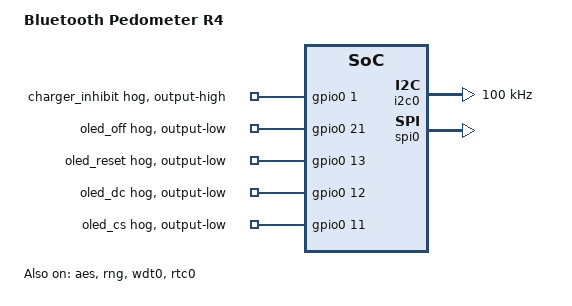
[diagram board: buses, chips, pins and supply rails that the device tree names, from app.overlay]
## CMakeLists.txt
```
cmake_minimum_required(VERSION 3.20.0)
find_package(Zephyr REQUIRED HINTS $ENV{ZEPHYR_BASE})
project(bluetooth_pedometer C)
target_sources(app PRIVATE src/main.c src/core.c src/bus.c src/pmic.c
  src/gauge.c src/motion.c src/oled.c src/platform.c src/ble.c src/storage.c
  vendor/bma400/bma400.c)
target_include_directories(app PRIVATE src vendor/bma400)
target_compile_options(app PRIVATE -Wall -Wextra)
```

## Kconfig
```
mainmenu "Bluetooth pedometer"
source "Kconfig.zephyr"
menu "Pedometer"
config PEDOMETER_STRIDE_MM
    int "Default distance per step, mm"
    range 100 2000
    default 750
config PEDOMETER_OLED_HEIGHT
    int "SSD1306 height (only 32 or 64 supported)"
    range 32 64
    default 64
config PEDOMETER_DISPLAY_SECONDS
    int "Display timeout"
    range 3 60
    default 10
config PEDOMETER_WRIST
    bool "Use Bosch wrist step-counter parameters"
    default n
config PEDOMETER_BATTERY_PROFILE_APPROVED
    bool "Enable charging for a verified protected 4.2 V Li-ion pack"
    default n
    help
      Only enable after matching current, capacity, NTC thresholds and
      chemistry to the actual cell. Default firmware inhibits charging.
config PEDOMETER_CAPACITY_MAH
    int "Verified battery capacity, mAh"
    range 100 500
    default 100
config PEDOMETER_NOMINAL_MV
    int "Battery nominal voltage, mV"
    range 3600 3800
    default 3700
config PEDOMETER_CUTOFF_MV
    int "Gauge terminate voltage, mV"
    range 3000 3500
    default 3200
config PEDOMETER_CHARGE_UA
    int "Charge current, multiple of 1250 uA"
    range 5000 50000
    default 10000
config PEDOMETER_PRECHARGE_UA
    int "Precharge current, multiple of 1250 uA"
    range 1250 38750
    default 2500
config PEDOMETER_TERMINATION_PERCENT
    int "Termination percent of fast charge current"
    range 1 31
    default 10
config PEDOMETER_TS_COLD
    hex "Cold threshold ADC byte (verify with actual NTC)"
    range 0x1 0xff
    default 0x7c
config PEDOMETER_TS_COOL
    hex "Cool threshold ADC byte"
    range 0x1 0xff
    default 0x6d
config PEDOMETER_TS_WARM
    hex "Warm threshold ADC byte"
    range 0x1 0xff
    default 0x38
config PEDOMETER_TS_HOT
    hex "Hot threshold ADC byte"
    range 0x1 0xff
    default 0x27
endmenu
```

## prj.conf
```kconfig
CONFIG_MAIN_STACK_SIZE=4096
CONFIG_GPIO_HOGS=y
CONFIG_SYSTEM_WORKQUEUE_STACK_SIZE=2048
CONFIG_HEAP_MEM_POOL_SIZE=4096
CONFIG_I2C=y
CONFIG_I2C_CALLBACK=y
CONFIG_SPI=y
CONFIG_WATCHDOG=y
CONFIG_BT=y
CONFIG_BT_PERIPHERAL=y
CONFIG_BT_DEVICE_NAME="BLE Pedometer"
CONFIG_BT_DEVICE_APPEARANCE=1089
CONFIG_BT_MAX_CONN=1
CONFIG_BT_MAX_PAIRED=2
CONFIG_BT_SMP=y
CONFIG_BT_SMP_SC_ONLY=y
CONFIG_BT_SMP_APP_PAIRING_ACCEPT=y
CONFIG_BT_PRIVACY=y
CONFIG_BT_SETTINGS=y
CONFIG_FLASH=y
CONFIG_FLASH_MAP=y
CONFIG_FLASH_PAGE_LAYOUT=y
CONFIG_NVS=y
CONFIG_SETTINGS=y
CONFIG_SETTINGS_NVS=y
CONFIG_USE_DT_CODE_PARTITION=y
CONFIG_SERIAL=n
CONFIG_CONSOLE=n
CONFIG_UART_CONSOLE=n
CONFIG_LOG=n
CONFIG_ASSERT=y
CONFIG_REBOOT=y
CONFIG_PM_DEVICE=y
```

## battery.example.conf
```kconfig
# Leave disabled until these values match a verified protected 4.2 V pack.
CONFIG_PEDOMETER_BATTERY_PROFILE_APPROVED=n
CONFIG_PEDOMETER_CAPACITY_MAH=100
CONFIG_PEDOMETER_NOMINAL_MV=3700
CONFIG_PEDOMETER_CUTOFF_MV=3200
CONFIG_PEDOMETER_CHARGE_UA=10000
CONFIG_PEDOMETER_PRECHARGE_UA=2500
CONFIG_PEDOMETER_TERMINATION_PERCENT=10
CONFIG_PEDOMETER_TS_COLD=0x7c
CONFIG_PEDOMETER_TS_COOL=0x6d
CONFIG_PEDOMETER_TS_WARM=0x38
CONFIG_PEDOMETER_TS_HOT=0x27
```

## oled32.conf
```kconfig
CONFIG_PEDOMETER_OLED_HEIGHT=32
```

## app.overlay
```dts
#include <zephyr/dt-bindings/gpio/gpio.h>
#include <zephyr/dt-bindings/pinctrl/cc23x0-pinctrl.h>
/* Use TI's unchanged CC2340R53 radio/clock support, with the pedometer's
 * actual hardware definitions. No LaunchPad peripherals remain enabled. */
/delete-node/ &boot_partition;
/delete-node/ &slot0_partition;
/delete-node/ &slot1_partition;
/delete-node/ &mx25r80;
/delete-node/ &boosterpack_header;
/ {
    /delete-node/ aliases;
    /delete-node/ leds;
    /delete-node/ pwmleds;
    /delete-node/ keys;
    model = "Bluetooth Pedometer R4";
    compatible = "pedometer,cc2340r53";
    chosen {
        /delete-property/ zephyr,console;
        /delete-property/ zephyr,shell-uart;
        /delete-property/ zephyr,bt-c2h-uart;
        /delete-property/ zephyr,uart-mcumgr;
        zephyr,sram = &sram0;
        zephyr,flash = &flash0;
        zephyr,code-partition = &slot0_partition;
        zephyr,bt_hci = &ti_bt_hci;
    };
    aliases { watchdog0 = &wdt0; };
};
&cpu0 { clock-frequency = <48000000>; };
&gpio0 {
    status = "okay";
    charger_inhibit { gpio-hog; gpios = <1 GPIO_ACTIVE_HIGH>; output-high; };
    oled_off { gpio-hog; gpios = <21 GPIO_ACTIVE_HIGH>; output-low; };
    oled_reset { gpio-hog; gpios = <13 GPIO_ACTIVE_HIGH>; output-low; };
    oled_dc { gpio-hog; gpios = <12 GPIO_ACTIVE_HIGH>; output-low; };
    oled_cs { gpio-hog; gpios = <11 GPIO_ACTIVE_HIGH>; output-low; };
};
&pinctrl {
    pedometer_scl: pedometer_scl {
        pinmux = <24 DIO24_I2C0_SCL>;
        bias-disable; drive-open-drain; input-enable;
    };
    pedometer_sda: pedometer_sda {
        pinmux = <0 DIO0_I2C0_SDA>;
        bias-disable; drive-open-drain; input-enable;
    };
    pedometer_sck: pedometer_sck { pinmux = <8 DIO8_SPI0_SCLK>; bias-disable; };
    pedometer_mosi: pedometer_mosi { pinmux = <19 DIO19_SPI0_MOSI>; bias-disable; };
    /* TI's driver indexes SCK/MOSI/MISO even for TX-only transfers. DIO25
     * is a no-connect on this PCB and provides the required unused RX input. */
    pedometer_miso: pedometer_miso {
        pinmux = <25 DIO25_SPI0_MISO>; bias-pull-down; input-enable;
    };
    pedometer_sck_sleep: pedometer_sck_sleep {
        pinmux = <8 DIO8_GPIO8>; bias-pull-down; input-enable;
    };
    pedometer_mosi_sleep: pedometer_mosi_sleep {
        pinmux = <19 DIO19_GPIO19>; bias-pull-down; input-enable;
    };
    pedometer_miso_sleep: pedometer_miso_sleep {
        pinmux = <25 DIO25_GPIO25>; bias-pull-down; input-enable;
    };
};
&i2c0 {
    status = "okay";
    clock-frequency = <100000>;
    pinctrl-0 = <&pedometer_scl &pedometer_sda>;
    pinctrl-names = "default";
};
&spi0 {
    /delete-property/ cs-gpios;
    status = "okay";
    pinctrl-0 = <&pedometer_sck &pedometer_mosi &pedometer_miso>;
    pinctrl-1 = <&pedometer_sck_sleep &pedometer_mosi_sleep &pedometer_miso_sleep>;
    pinctrl-names = "default", "sleep";
};
&aes { status = "okay"; };
&rng { status = "okay"; };
&dma { status = "okay"; };
&wdt0 { status = "okay"; };
&rtc0 { status = "okay"; };

&flash0 {
    partitions {
        slot0_partition: partition@0 {
            label = "image-0";
            reg = <0x00000000 0x0007c000>;
        };
    };
};
&uart0 { status = "disabled"; };
&adc0 { status = "disabled"; };
&lgpt1 { status = "disabled"; };
&lgpt2 { status = "disabled"; };
&pwm5 { status = "disabled"; };
&pwm6 { status = "disabled"; };
```

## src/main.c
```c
#include "ble.h"
#include "core.h"
#include "gauge.h"
#include "motion.h"
#include "oled.h"
#include "platform.h"
#include "pmic.h"
#include "storage.h"
#include <errno.h>
#include <stdio.h>

BUILD_ASSERT(CONFIG_PEDOMETER_OLED_HEIGHT == 32 || CONFIG_PEDOMETER_OLED_HEIGHT == 64,
             "OLED height must be 32 or 64");
BUILD_ASSERT(!IS_ENABLED(CONFIG_PEDOMETER_BATTERY_PROFILE_APPROVED) ||
    (CONFIG_PEDOMETER_CHARGE_UA % 1250 == 0 && CONFIG_PEDOMETER_PRECHARGE_UA % 1250 == 0 &&
     CONFIG_PEDOMETER_PRECHARGE_UA <= CONFIG_PEDOMETER_CHARGE_UA &&
     CONFIG_PEDOMETER_CHARGE_UA * CONFIG_PEDOMETER_TERMINATION_PERCENT / 100 >= 500 &&
     CONFIG_PEDOMETER_CAPACITY_MAH * 10000u /
       (CONFIG_PEDOMETER_CHARGE_UA * CONFIG_PEDOMETER_TERMINATION_PERCENT / 100) <= 2000 &&
     CONFIG_PEDOMETER_TS_COLD > CONFIG_PEDOMETER_TS_COOL &&
     CONFIG_PEDOMETER_TS_COOL > CONFIG_PEDOMETER_TS_WARM &&
     CONFIG_PEDOMETER_TS_WARM > CONFIG_PEDOMETER_TS_HOT), "Invalid approved battery profile");
static struct oled display;
static struct motion motion;
static struct step_state steps;
static struct app_clock clock_state;
static struct telemetry status;
static bool pmic_ok, motion_ok, gauge_ready, charging, storage_error, sample_gap;
static uint64_t display_until, pairing_until, passkey_until;
static struct battery_reading battery;
static bool battery_present;
static const struct charge_profile charge_profile = {
    .approved=IS_ENABLED(CONFIG_PEDOMETER_BATTERY_PROFILE_APPROVED),
    .current_ua=CONFIG_PEDOMETER_CHARGE_UA,.precharge_ua=CONFIG_PEDOMETER_PRECHARGE_UA,
    .termination_percent=CONFIG_PEDOMETER_TERMINATION_PERCENT,
    .ts_cold=CONFIG_PEDOMETER_TS_COLD,.ts_cool=CONFIG_PEDOMETER_TS_COOL,
    .ts_warm=CONFIG_PEDOMETER_TS_WARM,.ts_hot=CONFIG_PEDOMETER_TS_HOT
};
static void save(void)
{ storage_error = storage_checkpoint(steps.total, status.stride_mm) != 0; }
static void refresh_status(uint64_t now)
{
    status.steps = steps.total;
    status.distance_mm = steps_distance(steps.total, status.stride_mm);
    status.uptime_s = now/1000u;
    status.millivolts = battery_present ? battery.millivolts : 0;
    status.percent = battery_present && battery.soc_valid ? battery.percent : 255;
    status.flags = (motion_ok ? STATUS_MOTION : 0) | (pmic_ok ? STATUS_PMIC : 0) |
        (battery_present ? STATUS_BATTERY : 0) | (battery.soc_valid && battery_present ? STATUS_SOC : 0) |
        (charging ? STATUS_CHARGE_ENABLED : 0) | (clock_state.valid ? STATUS_TIME : 0) |
        (storage_error ? STATUS_STORAGE_ERROR : 0) | (sample_gap ? STATUS_SAMPLE_GAP : 0);
}
static void show(uint64_t now)
{
    if (!pmic_ok || passkey_until) { return; }
    refresh_status(now);
    if (!oled_status(&display, &status, ble_connected())) {
        display_until = now + CONFIG_PEDOMETER_DISPLAY_SECONDS*1000u;
    }
}
static void power_fault(void)
{
    board_inhibit(true); charging = false; pmic_ok = false;
    oled_off(&display); display_until = 0;
    ble_cancel_pairing(); pairing_until = passkey_until = 0;
}
static void power_update(void)
{
    int rc = board_pmic_wake(true);
    if (rc) { power_fault(); return; }
    if (pmic_ok) { rc = pmic_verify(&board_bus, &charge_profile); }
    if (!pmic_ok || rc) {
        power_fault();
        rc = pmic_setup(&board_bus, &charge_profile);
    }
    if (rc) { power_fault(); board_pmic_wake(false); return; }
    pmic_ok = true;
    board_feed();
    rc = gauge_read(&board_bus, gauge_ready, &battery);
    if (rc == -EAGAIN) {
        gauge_ready = false;
        board_inhibit(true); charging = false;
        rc = gauge_read(&board_bus, false, &battery);
    }
    battery_present = rc == 0;
    if (!battery_present) { gauge_ready = false; battery.soc_valid = false; }
    if (battery_present && charge_profile.approved && !gauge_ready) {
        board_inhibit(true); charging = false;
        uint32_t termination_ua = charge_profile.current_ua * charge_profile.termination_percent / 100u;
        struct gauge_profile gp = {
            .capacity_mah=CONFIG_PEDOMETER_CAPACITY_MAH,.nominal_mv=CONFIG_PEDOMETER_NOMINAL_MV,
            .cutoff_mv=CONFIG_PEDOMETER_CUTOFF_MV,
            .taper_rate=termination_ua ? CONFIG_PEDOMETER_CAPACITY_MAH*10000u/termination_ua : 0
        };
        gauge_ready = gauge_configure(&board_bus, &gp) == 0;
        board_feed();
        if (gauge_ready) {
            rc = gauge_read(&board_bus, true, &battery);
            battery_present = rc == 0;
            if (rc) { gauge_ready = false; }
        }
    }
    bool allow = charge_profile.approved && battery_present && gauge_ready && battery.millivolts <= 4250;
    if (!allow) { board_inhibit(true); charging = false; }
    rc = pmic_allow_charge(&board_bus, allow);
    if (!rc) { rc = board_inhibit(!allow); }
    if (rc) { power_fault(); } else { charging = allow; }
    /* Acknowledge latched interrupt flags; hardware TS/charge limits remain active. */
    uint8_t flags[3];
    if (board_bus.read(board_bus.ctx, PMIC_ADDR, 0x03, flags, sizeof(flags))) { power_fault(); }
    if (board_pmic_wake(false)) { power_fault(); }
}
static void sample_motion(uint64_t now)
{
    bool reset = false;
    if (!motion_ok) {
        if (motion_init(&motion, &board_bus, IS_ENABLED(CONFIG_PEDOMETER_WRIST), &reset)) {
            status.activity = 0; sample_gap = true; return;
        }
        motion_ok = true;
    }
    uint32_t raw; uint8_t activity;
    if (motion_read(&motion, &raw, &activity)) {
        motion_ok = false; status.activity = 0; sample_gap = true; return;
    }
    if (!steps_sample(&steps, raw, now, reset)) { sample_gap = true; }
    status.activity = activity;
}
static void reset_steps(uint64_t now)
{
    sample_motion(now); /* Establish current raw baseline before logical reset. */
    steps.total = 0; sample_gap = false; save(); show(now);
}
static void ship(uint64_t now)
{
    if (!pmic_ok) { return; }
    if (board_usb_present() != 0) {
        oled_text(&display, "UNPLUG USB", "THEN HOLD 8 SECONDS", "TO POWER OFF", "");
        display_until = now+5000; return;
    }
    sample_motion(now); save();
    if (storage_error) { show(now); return; }
    board_inhibit(true); charging = false;
    oled_off(&display); ble_stop(); board_feed();
    if (!board_pmic_wake(true)) { (void)pmic_ship(&board_bus); }
    k_sleep(K_MSEC(250));
    /* If power remained (e.g. USB inserted during the request), cancel the
     * deferred ship bit so a later unplug does not unexpectedly turn off. */
    uint8_t ctrl;
    if (!reg_read8(&board_bus, PMIC_ADDR, 0x35, &ctrl)) {
        (void)reg_write8(&board_bus, PMIC_ADDR, 0x35, ctrl & 0x34u);
    }
    board_reboot();
}
static void handle(struct command cmd, uint64_t now)
{
    switch (cmd.action) {
    case ACTION_SHOW: show(now); break;
    case ACTION_PAIR:
        if (pmic_ok && !oled_text(&display, "PAIRING OPEN 60S", "CONNECT FROM PHONE", "ENTER OLED PASSKEY", "")) {
            pairing_until = now+60000; display_until = pairing_until;
            ble_pair_window(pairing_until);
        }
        break;
    case ACTION_RESET: reset_steps(now); break;
    case ACTION_SHIP: ship(now); break;
    case ACTION_STRIDE: status.stride_mm = cmd.value; save(); show(now); break;
    case ACTION_TIME: (void)clock_sync(&clock_state, cmd.value, cmd.timezone, now); break;
    case ACTION_PASSKEY: {
        if (!pmic_ok || now >= pairing_until) { ble_cancel_pairing(); break; }
        char code[22]; snprintf(code, sizeof(code), "%06lu", (unsigned long)cmd.value);
        if (oled_text(&display, "ENTER ON PHONE", code, "PAIRING PASSKEY", "")) { ble_cancel_pairing(); break; }
        passkey_until = pairing_until; display_until = pairing_until;
        break;
    }
    case ACTION_PAIR_DONE:
        ble_pair_window(0); pairing_until = passkey_until = 0; show(now); break;
    default: break;
    }
}
int main(void)
{
    int rc = board_init();
    if (rc) { board_reboot(); }
    rc = oled_init(&display, &board_oled, CONFIG_PEDOMETER_OLED_HEIGHT);
    if (rc) { board_reboot(); }
    status.stride_mm = CONFIG_PEDOMETER_STRIDE_MM;
    /* Keep /CE high throughout boot, even if the gauge is absent. */
    board_inhibit(true);
    if (!board_pmic_wake(true)) { pmic_ok = pmic_setup(&board_bus, &charge_profile) == 0; }
    board_pmic_wake(false); board_feed();
    rc = ble_start();
    if (rc) {
        if (pmic_ok) { oled_text(&display, "BLUETOOTH INIT ERROR", "RESTARTING", "", ""); }
        k_sleep(K_MSEC(1000)); board_reboot();
    }
    storage_restore(&steps.total, &status.stride_mm);
    power_update();
    uint64_t now = k_uptime_get();
    sample_motion(now); show(now); board_feed();
    uint64_t next_sample=now+5000, next_power=now+10000, next_save=now+300000;
    uint64_t next_display=now+1000, pressed_at=0, changed_at=now;
    int stable=1, observed=board_button();
    for (;;) {
        now = k_uptime_get(); board_feed();
        int level = board_button();
        if (level >= 0 && level != observed) { observed=level; changed_at=now; }
        if (level >= 0 && observed != stable && now-changed_at >= 30) {
            stable = observed;
            if (!stable) { pressed_at=now; }
            else { handle((struct command){.action=button_action(now-pressed_at)}, now); }
        }
        struct command cmd;
        /* Bound work per iteration so a connected client cannot starve sampling. */
        for (unsigned n=0; n<8 && ble_command_get(&cmd); ++n) { handle(cmd, now); }
        if (now >= next_power) { power_update(); now=k_uptime_get(); next_power=now+10000; }
        if (now >= next_sample) {
            sample_motion(now);
            if (clock_new_day(&clock_state, now)) { steps.total=0; sample_gap=false; save(); }
            next_sample=now+5000;
        }
        if (now >= next_save) { save(); next_save=now+(storage_error ? 10000 : 300000); }
        if (pairing_until && now >= pairing_until) {
            ble_cancel_pairing(); pairing_until=passkey_until=0; show(now);
        }
        if (display.active && now >= display_until) { oled_off(&display); }
        if (display.active && !pairing_until && now >= next_display) {
            refresh_status(now); oled_status(&display, &status, ble_connected()); next_display=now+1000;
        }
        refresh_status(now); ble_poll(now); ble_publish(&status);
        /* GPIO interrupt wakes idle instantly; 20 ms while debouncing/held.
         * One-second idle cadence also keeps the watchdog serviced. */
        k_sem_take(&app_wake, K_MSEC(!stable || stable != observed ? 20 : 1000));
    }
}
```

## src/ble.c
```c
#include "ble.h"
#include "platform.h"
#include <zephyr/bluetooth/bluetooth.h>
#include <zephyr/bluetooth/conn.h>
#include <zephyr/bluetooth/gatt.h>
#include <zephyr/bluetooth/hci.h>
#include <zephyr/settings/settings.h>
#include <zephyr/sys/atomic.h>
#include <errno.h>
#include <string.h>
#define UUID(n) BT_UUID_128_ENCODE(0xc2a10000u+(n),0x6a9b,0x4e31,0x9d42,0x7b680ca4c901)
static struct bt_uuid_128 service_uuid = BT_UUID_INIT_128(UUID(1));
static struct bt_uuid_128 telemetry_uuid = BT_UUID_INIT_128(UUID(2));
static struct bt_uuid_128 control_uuid = BT_UUID_INIT_128(UUID(3));
static struct k_spinlock lock;
static struct bt_conn *peer;
static uint64_t pairing_until;
static uint64_t connected_since;
static uint8_t snapshot[20] = {[14]=255, [19]=1};
static atomic_t restart_adv;
static bool enabled;
K_MSGQ_DEFINE(commands, sizeof(struct command), 8, 4);
static int enqueue(struct command cmd)
{
    int rc = k_msgq_put(&commands, &cmd, K_NO_WAIT);
    if (!rc) { k_sem_give(&app_wake); }
    return rc;
}
bool ble_command_get(struct command *cmd) { return k_msgq_get(&commands, cmd, K_NO_WAIT) == 0; }
static struct bt_conn *get_peer(void)
{
    k_spinlock_key_t key = k_spin_lock(&lock);
    struct bt_conn *conn = peer ? bt_conn_ref(peer) : NULL;
    k_spin_unlock(&lock, key); return conn;
}
bool ble_connected(void)
{ struct bt_conn *conn = get_peer(); if (!conn) { return false; } bt_conn_unref(conn); return true; }
void ble_pair_window(uint64_t until)
{
    k_spinlock_key_t key = k_spin_lock(&lock);
    pairing_until = until; k_spin_unlock(&lock, key);
}
static bool pairing_open(void)
{
    k_spinlock_key_t key = k_spin_lock(&lock);
    bool open = (uint64_t)k_uptime_get() < pairing_until;
    k_spin_unlock(&lock, key); return open;
}
static ssize_t read_telemetry(struct bt_conn *conn, const struct bt_gatt_attr *attr,
                             void *buf, uint16_t len, uint16_t offset)
{
    uint8_t data[20]; k_spinlock_key_t key = k_spin_lock(&lock);
    memcpy(data, snapshot, sizeof(data)); k_spin_unlock(&lock, key);
    return bt_gatt_attr_read(conn, attr, buf, len, offset, data, sizeof(data));
}
static ssize_t write_control(struct bt_conn *conn, const struct bt_gatt_attr *attr,
                            const void *buf, uint16_t len, uint16_t offset, uint8_t flags)
{
    ARG_UNUSED(conn); ARG_UNUSED(attr);
    if (offset) { return BT_GATT_ERR(BT_ATT_ERR_INVALID_OFFSET); }
    if (flags & BT_GATT_WRITE_FLAG_PREPARE) { return BT_GATT_ERR(BT_ATT_ERR_NOT_SUPPORTED); }
    struct command cmd;
    int rc = command_decode(buf, len, &cmd);
    if (rc) { return BT_GATT_ERR(BT_ATT_ERR_VALUE_NOT_ALLOWED); }
    if (enqueue(cmd)) { return BT_GATT_ERR(BT_ATT_ERR_INSUFFICIENT_RESOURCES); }
    return len;
}
static void ccc_changed(const struct bt_gatt_attr *attr, uint16_t value)
{ ARG_UNUSED(attr); ARG_UNUSED(value); k_sem_give(&app_wake); }
BT_GATT_SERVICE_DEFINE(pedometer_service,
    BT_GATT_PRIMARY_SERVICE(&service_uuid),
    BT_GATT_CHARACTERISTIC(&telemetry_uuid.uuid, BT_GATT_CHRC_READ|BT_GATT_CHRC_NOTIFY,
        BT_GATT_PERM_READ_AUTHEN, read_telemetry, NULL, NULL),
    BT_GATT_CCC(ccc_changed, BT_GATT_PERM_READ_AUTHEN|BT_GATT_PERM_WRITE_AUTHEN),
    BT_GATT_CHARACTERISTIC(&control_uuid.uuid, BT_GATT_CHRC_WRITE,
        BT_GATT_PERM_WRITE_AUTHEN, NULL, write_control, NULL)
);
static const struct bt_data adv[] = {
    BT_DATA_BYTES(BT_DATA_FLAGS, BT_LE_AD_GENERAL|BT_LE_AD_NO_BREDR),
    BT_DATA_BYTES(BT_DATA_UUID128_ALL, UUID(1))
};
static const struct bt_data scan[] = {
    BT_DATA(BT_DATA_NAME_COMPLETE, CONFIG_BT_DEVICE_NAME, sizeof(CONFIG_BT_DEVICE_NAME)-1)
};
static int advertise(void)
{
    int rc = bt_le_adv_start(BT_LE_ADV_PARAM(BT_LE_ADV_OPT_CONNECTABLE, 1600, 1920, NULL),
        adv, ARRAY_SIZE(adv), scan, ARRAY_SIZE(scan));
    return rc == -EALREADY ? 0 : rc;
}
static void connected(struct bt_conn *conn, uint8_t err)
{
    if (err) { atomic_set(&restart_adv, 1); k_sem_give(&app_wake); return; }
    k_spinlock_key_t key = k_spin_lock(&lock);
    peer = bt_conn_ref(conn); connected_since = k_uptime_get(); k_spin_unlock(&lock, key);
    k_sem_give(&app_wake);
    /* Client requests security when accessing authenticated attributes.
     * Existing bonds can reconnect without opening a new pairing window. */
}
static void disconnected(struct bt_conn *conn, uint8_t reason)
{
    ARG_UNUSED(reason);
    k_spinlock_key_t key = k_spin_lock(&lock);
    struct bt_conn *old = peer == conn ? peer : NULL;
    if (old) { peer = NULL; }
    k_spin_unlock(&lock, key);
    if (old) { bt_conn_unref(old); }
    atomic_set(&restart_adv, 1); k_sem_give(&app_wake);
}
BT_CONN_CB_DEFINE(connection_callbacks) = {.connected=connected,.disconnected=disconnected};
static enum bt_security_err accept_pairing(struct bt_conn *conn, const struct bt_conn_pairing_feat *feat)
{
    ARG_UNUSED(conn); ARG_UNUSED(feat);
    return pairing_open() ? BT_SECURITY_ERR_SUCCESS : BT_SECURITY_ERR_PAIR_NOT_ALLOWED;
}
static void passkey_display(struct bt_conn *conn, unsigned int code)
{
    if (!pairing_open() || enqueue((struct command){.action=ACTION_PASSKEY,.value=code})) {
        bt_conn_auth_cancel(conn);
    }
}
static void auth_cancel(struct bt_conn *conn)
{ ARG_UNUSED(conn); enqueue((struct command){.action=ACTION_PAIR_DONE}); }
static struct bt_conn_auth_cb auth = {
    .pairing_accept=accept_pairing,.passkey_display=passkey_display,.cancel=auth_cancel
};
static void paired(struct bt_conn *conn, bool bonded)
{
    ARG_UNUSED(conn); ARG_UNUSED(bonded);
    ble_pair_window(0); enqueue((struct command){.action=ACTION_PAIR_DONE});
}
static void pairing_failed(struct bt_conn *conn, enum bt_security_err reason)
{ ARG_UNUSED(conn); ARG_UNUSED(reason); auth_cancel(conn); }
static struct bt_conn_auth_info_cb auth_info = {.pairing_complete=paired,.pairing_failed=pairing_failed};
void ble_cancel_pairing(void)
{
    ble_pair_window(0);
    struct bt_conn *conn = get_peer();
    if (conn) { if (bt_conn_get_security(conn) < BT_SECURITY_L3) { bt_conn_auth_cancel(conn); } bt_conn_unref(conn); }
}
int ble_start(void)
{
    int rc = settings_subsys_init(); if (rc) { return rc; }
    rc = bt_conn_auth_cb_register(&auth); if (rc) { return rc; }
    rc = bt_conn_auth_info_cb_register(&auth_info); if (rc) { return rc; }
    rc = bt_enable(NULL); if (rc) { return rc; }
    /* Required after bt_enable: load both bonds/identity and pedometer state. */
    rc = settings_load(); if (rc) { return rc; }
    enabled = true;
    rc = advertise();
    if (rc) { atomic_set(&restart_adv, 1); }
    return 0;
}
void ble_poll(uint64_t now)
{
    struct bt_conn *conn = get_peer();
    if (conn) {
        k_spinlock_key_t key = k_spin_lock(&lock);
        uint64_t since = connected_since;
        k_spin_unlock(&lock, key);
        if (now >= since + 30000 && !pairing_open() && bt_conn_get_security(conn) < BT_SECURITY_L3) {
            bt_conn_disconnect(conn, BT_HCI_ERR_AUTH_FAIL);
        }
        bt_conn_unref(conn);
    }
    if (enabled && atomic_cas(&restart_adv, 1, 0) && !ble_connected()) {
        if (advertise()) { atomic_set(&restart_adv, 1); }
    }
}
void ble_publish(const struct telemetry *t)
{
    uint8_t data[20]; telemetry_encode(t, data);
    k_spinlock_key_t key = k_spin_lock(&lock);
    bool changed = memcmp(snapshot, data, 20) != 0;
    memcpy(snapshot, data, 20); k_spin_unlock(&lock, key);
    if (!enabled || !changed) { return; }
    struct bt_conn *conn = get_peer(); if (!conn) { return; }
    if (bt_conn_get_security(conn) >= BT_SECURITY_L3 &&
        bt_gatt_is_subscribed(conn, &pedometer_service.attrs[2], BT_GATT_CCC_NOTIFY)) {
        (void)bt_gatt_notify(conn, &pedometer_service.attrs[2], data, sizeof(data));
    }
    bt_conn_unref(conn);
}
void ble_stop(void)
{
    enabled = false; ble_cancel_pairing();
    (void)bt_le_adv_stop();
    struct bt_conn *conn = get_peer();
    if (conn) { bt_conn_disconnect(conn, BT_HCI_ERR_REMOTE_USER_TERM_CONN); bt_conn_unref(conn); }
}
```

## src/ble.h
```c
#ifndef PEDOMETER_BLE_H
#define PEDOMETER_BLE_H
#include "core.h"
int ble_start(void);
void ble_poll(uint64_t now);
void ble_publish(const struct telemetry *t);
void ble_pair_window(uint64_t until);
void ble_cancel_pairing(void);
bool ble_connected(void);
bool ble_command_get(struct command *cmd);
void ble_stop(void);
#endif
```

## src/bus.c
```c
#include "bus.h"
#include <errno.h>
int reg_read8(const struct reg_bus *b, uint8_t a, uint8_t r, uint8_t *v)
{ return b->read(b->ctx, a, r, v, 1); }
int reg_write8(const struct reg_bus *b, uint8_t a, uint8_t r, uint8_t v)
{ return b->write(b->ctx, a, r, &v, 1); }
int reg_write_checked(const struct reg_bus *b, uint8_t a, uint8_t r, uint8_t v)
{
    uint8_t actual;
    int rc = reg_write8(b, a, r, v);
    if (rc) { return rc; }
    rc = reg_read8(b, a, r, &actual);
    return rc ? rc : actual == v ? 0 : -EIO;
}
```

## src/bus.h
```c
#ifndef PEDOMETER_BUS_H
#define PEDOMETER_BUS_H
#include <stddef.h>
#include <stdint.h>
struct reg_bus {
    int (*read)(void *, uint8_t, uint8_t, uint8_t *, size_t);
    int (*write)(void *, uint8_t, uint8_t, const uint8_t *, size_t);
    void (*delay_ms)(void *, uint32_t);
    void *ctx;
};
int reg_read8(const struct reg_bus *b, uint8_t addr, uint8_t reg, uint8_t *v);
int reg_write8(const struct reg_bus *b, uint8_t addr, uint8_t reg, uint8_t v);
int reg_write_checked(const struct reg_bus *b, uint8_t addr, uint8_t reg, uint8_t v);
#endif
```

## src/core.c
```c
#include "core.h"
#include <errno.h>
#include <limits.h>

bool steps_sample(struct step_state *s, uint32_t raw, uint64_t now, bool reset)
{
    raw &= 0xffffffu;
    if (!s->initialized || reset) {
        s->raw = raw; s->sample_ms = now; s->initialized = true;
        return true;
    }
    if (now < s->sample_ms) { return false; }
    uint32_t delta = (raw - s->raw) & 0xffffffu;
    uint64_t limit = (now - s->sample_ms) / 1000u * 8u + 16u;
    s->raw = raw; s->sample_ms = now;
    if (delta > limit) { return false; }
    s->total = UINT32_MAX - s->total < delta ? UINT32_MAX : s->total + delta;
    return true;
}
uint32_t steps_distance(uint32_t count, uint16_t stride)
{
    uint64_t mm = (uint64_t)count * stride;
    return mm > UINT32_MAX ? UINT32_MAX : (uint32_t)mm;
}
enum action button_action(uint64_t ms)
{
    if (ms < 40) { return ACTION_NONE; }
    if (ms < 2000) { return ACTION_SHOW; }
    if (ms < 5000) { return ACTION_PAIR; }
    if (ms < 8000) { return ACTION_RESET; }
    return ACTION_SHIP;
}
bool clock_sync(struct app_clock *c, uint32_t seconds, int16_t zone, uint64_t now)
{
    if (seconds < 1577836800u || zone < -720 || zone > 840) { return false; }
    c->unix_seconds = seconds; c->timezone = zone; c->sync_ms = now;
    c->day = ((int64_t)seconds + zone * 60) / 86400;
    c->valid = true;
    return true;
}
bool clock_new_day(struct app_clock *c, uint64_t now)
{
    if (!c->valid || now < c->sync_ms) { return false; }
    int64_t day = ((int64_t)c->unix_seconds + (now - c->sync_ms) / 1000u +
                   (int64_t)c->timezone * 60) / 86400;
    if (day <= c->day) { return false; }
    c->day = day;
    return true;
}
static void le16(uint8_t *d, uint16_t v) { d[0] = v; d[1] = v >> 8; }
static void le32(uint8_t *d, uint32_t v)
{ le16(d, v); le16(d + 2, v >> 16); }
void telemetry_encode(const struct telemetry *t, uint8_t out[20])
{
    le32(out, t->steps); le32(out + 4, t->distance_mm);
    le32(out + 8, t->uptime_s); le16(out + 12, t->millivolts);
    out[14] = t->percent; out[15] = t->flags;
    le16(out + 16, t->stride_mm); out[18] = t->activity; out[19] = 1;
}
int command_decode(const uint8_t *d, size_t n, struct command *out)
{
    *out = (struct command){0};
    if (!n) { return -EINVAL; }
    switch (d[0]) {
    case 1: if (n != 1) { return -EINVAL; } out->action = ACTION_SHOW; break;
    case 2: if (n != 1) { return -EINVAL; } out->action = ACTION_RESET; break;
    case 3: if (n != 1) { return -EINVAL; } out->action = ACTION_SHIP; break;
    case 4:
        if (n != 3) { return -EINVAL; }
        out->value = d[1] | (uint16_t)d[2] << 8;
        if (out->value < 100 || out->value > 2000) { return -ERANGE; }
        out->action = ACTION_STRIDE; break;
    case 5:
        if (n != 7) { return -EINVAL; }
        out->value = d[1] | (uint32_t)d[2] << 8 | (uint32_t)d[3] << 16 | (uint32_t)d[4] << 24;
        out->timezone = (int16_t)(d[5] | (uint16_t)d[6] << 8);
        if (out->value < 1577836800u || out->timezone < -720 || out->timezone > 840) { return -ERANGE; }
        out->action = ACTION_TIME; break;
    default: return -ENOTSUP;
    }
    return 0;
}
```

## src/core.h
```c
#ifndef PEDOMETER_CORE_H
#define PEDOMETER_CORE_H
#include <stdbool.h>
#include <stdint.h>
#include <stddef.h>
enum action { ACTION_NONE, ACTION_SHOW, ACTION_PAIR, ACTION_RESET, ACTION_SHIP,
              ACTION_STRIDE, ACTION_TIME, ACTION_PASSKEY, ACTION_PAIR_DONE };
struct command { enum action action; uint32_t value; int16_t timezone; };
struct step_state {
    uint32_t total, raw;
    uint64_t sample_ms;
    bool initialized;
};
struct app_clock {
    uint32_t unix_seconds;
    uint64_t sync_ms;
    int16_t timezone;
    int64_t day;
    bool valid;
};
enum status_flag {
    STATUS_MOTION = 1, STATUS_PMIC = 2, STATUS_BATTERY = 4,
    STATUS_SOC = 8, STATUS_CHARGE_ENABLED = 16, STATUS_TIME = 32,
    STATUS_STORAGE_ERROR = 64, STATUS_SAMPLE_GAP = 128
};
struct telemetry {
    uint32_t steps, distance_mm, uptime_s;
    uint16_t millivolts, stride_mm;
    uint8_t percent, flags, activity;
};
bool steps_sample(struct step_state *s, uint32_t raw, uint64_t now, bool reset);
uint32_t steps_distance(uint32_t count, uint16_t stride);
enum action button_action(uint64_t held_ms);
bool clock_sync(struct app_clock *c, uint32_t unix_seconds, int16_t timezone, uint64_t now);
bool clock_new_day(struct app_clock *c, uint64_t now);
void telemetry_encode(const struct telemetry *t, uint8_t out[20]);
int command_decode(const uint8_t *data, size_t size, struct command *out);
#endif
```

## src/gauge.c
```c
#include "gauge.h"
#include <errno.h>
#include <string.h>
#define GAUGE_ADDR 0x55
static int read_word(const struct reg_bus *b, uint8_t r, uint16_t *value)
{
    uint8_t d[2]; int rc = b->read(b->ctx, GAUGE_ADDR, r, d, 2);
    if (!rc) { *value = d[0] | (uint16_t)d[1] << 8; }
    b->delay_ms(b->ctx, 1); return rc;
}
static int control(const struct reg_bus *b, uint16_t cmd)
{
    uint8_t d[2] = {cmd & 0xff, cmd >> 8};
    int rc = b->write(b->ctx, GAUGE_ADDR, 0, d, 2);
    b->delay_ms(b->ctx, 5); return rc;
}
static int control_read(const struct reg_bus *b, uint16_t cmd, uint16_t *v)
{ int rc = control(b, cmd); return rc ? rc : read_word(b, 0, v); }
static int cfg_wait(const struct reg_bus *b, bool enabled)
{
    for (unsigned i = 0; i < 20; ++i) {
        uint16_t flags; int rc = read_word(b, 0x06, &flags);
        if (rc) { return rc; }
        if (!!(flags & 0x10) == enabled) { return 0; }
        b->delay_ms(b->ctx, 100);
    }
    return -ETIMEDOUT;
}
static uint8_t checksum(const uint8_t d[32])
{ uint8_t sum = 0; for (unsigned i = 0; i < 32; ++i) { sum += d[i]; } return 255u - sum; }
static void put_be16(uint8_t *d, uint16_t v) { d[0] = v >> 8; d[1] = v; }
int gauge_configure(const struct reg_bus *b, const struct gauge_profile *p)
{
    uint16_t id; int rc = control_read(b, 0x0001, &id);
    if (rc || id != 0x0427) { return rc ? rc : -ENODEV; }
    uint32_t energy = (uint32_t)p->capacity_mah * p->nominal_mv / 1000;
    if (p->capacity_mah < 100 || energy > 32767 || p->nominal_mv < 3600 ||
        p->nominal_mv > 3800 || p->cutoff_mv < 3000 || p->cutoff_mv > 3500 ||
        !p->taper_rate || p->taper_rate > 2000) { return -EINVAL; }
    /* Factory key only. A changed key is not bypassed. Always reseal on failure. */
    if ((rc = control(b, 0x8000)) || (rc = control(b, 0x8000))) { goto seal_only; }
    if ((rc = control(b, 0x0013)) || (rc = cfg_wait(b, true))) { goto exit_cfg; }
    if ((rc = control(b, 0x0031)) || /* CHEM_B: 1202, 4.2 V Li-ion */
        (rc = reg_write8(b, GAUGE_ADDR, 0x61, 0)) ||
        (rc = reg_write8(b, GAUGE_ADDR, 0x3e, 82)) ||
        (rc = reg_write8(b, GAUGE_ADDR, 0x3f, 0))) { goto exit_cfg; }
    b->delay_ms(b->ctx, 10);
    uint8_t data[32], verify[32], sum;
    if ((rc = b->read(b->ctx, GAUGE_ADDR, 0x40, data, 32)) ||
        (rc = reg_read8(b, GAUGE_ADDR, 0x60, &sum))) { goto exit_cfg; }
    if (sum != checksum(data)) { rc = -EIO; goto exit_cfg; }
    put_be16(data + 6, p->capacity_mah); put_be16(data + 8, energy);
    put_be16(data + 10, p->cutoff_mv); put_be16(data + 21, p->taper_rate);
    put_be16(data + 29, 4100);
    if ((rc = b->write(b->ctx, GAUGE_ADDR, 0x40, data, 32)) ||
        (rc = reg_write8(b, GAUGE_ADDR, 0x60, checksum(data)))) { goto exit_cfg; }
    b->delay_ms(b->ctx, 10);
    if ((rc = b->read(b->ctx, GAUGE_ADDR, 0x40, verify, 32)) ||
        (rc = reg_read8(b, GAUGE_ADDR, 0x60, &sum))) { goto exit_cfg; }
    if (memcmp(data, verify, 32) || sum != checksum(verify)) { rc = -EIO; }
exit_cfg:;
    int cleanup = control(b, 0x0042);
    if (!cleanup) { cleanup = cfg_wait(b, false); }
    if (!rc) { rc = cleanup; }
seal_only:;
    int seal = control(b, 0x0020);
    if (rc || seal) { return rc ? rc : seal; }
    b->delay_ms(b->ctx, 2000);
    rc = control_read(b, 0x0008, &id);
    return rc ? rc : id == 1202 ? 0 : -EIO;
}
int gauge_read(const struct reg_bus *b, bool configured, struct battery_reading *out)
{
    *out = (struct battery_reading){.percent = 255};
    uint16_t flags, soc; int rc = read_word(b, 0x04, &out->millivolts);
    if (rc) { return rc; }
    if (out->millivolts < 2000 || out->millivolts > 4600) { return -ERANGE; }
    if ((rc = read_word(b, 0x06, &flags))) { return rc; }
    if (configured && (flags & 0x20)) { return -EAGAIN; } /* ITPOR: restore profile */
    if (!configured || (flags & 0x10) || !(flags & 0x08)) { return 0; }
    if ((rc = read_word(b, 0x1c, &soc))) { return rc; }
    if (soc > 100) { return -ERANGE; }
    out->percent = soc; out->soc_valid = true; return 0;
}
```

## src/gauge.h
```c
#ifndef PEDOMETER_GAUGE_H
#define PEDOMETER_GAUGE_H
#include "bus.h"
#include <stdbool.h>
struct gauge_profile { uint16_t capacity_mah, nominal_mv, cutoff_mv, taper_rate; };
struct battery_reading { uint16_t millivolts; uint8_t percent; bool soc_valid; };
int gauge_configure(const struct reg_bus *b, const struct gauge_profile *p);
int gauge_read(const struct reg_bus *b, bool configured, struct battery_reading *out);
#endif
```

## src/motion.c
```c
#include "motion.h"
#include <errno.h>
#include <string.h>
static BMA400_INTF_RET_TYPE read_reg(uint8_t r, uint8_t *d, uint32_t n, void *ctx)
{
    struct motion *m = ctx;
    return m->bus->read(m->bus->ctx, 0x14, r, d, n) ? -1 : 0;
}
static BMA400_INTF_RET_TYPE write_reg(uint8_t r, const uint8_t *d, uint32_t n, void *ctx)
{
    struct motion *m = ctx;
    return m->bus->write(m->bus->ctx, 0x14, r, d, n) ? -1 : 0;
}
static void delay_us(uint32_t us, void *ctx)
{
    struct motion *m = ctx;
    m->bus->delay_ms(m->bus->ctx, (us + 999u) / 1000u);
}
/* Bosch SensorAPI bma400.h, table for registers 0x59..0x70. */
static const uint8_t wrist_params[24] = {
    1,45,123,212,68,1,59,122,219,123,63,108,205,39,25,150,160,195,14,12,60,240,0,247
};
static const uint8_t nonwrist_params[24] = {
    1,50,120,230,135,0,132,108,156,117,100,126,170,12,12,74,160,0,0,12,60,240,1,0
};
int motion_init(struct motion *m, const struct reg_bus *b, bool wrist, bool *reset)
{
    memset(m, 0, sizeof(*m)); m->bus = b;
    m->dev.intf = BMA400_I2C_INTF; m->dev.read = read_reg;
    m->dev.write = write_reg; m->dev.delay_us = delay_us; m->dev.intf_ptr = m;
    if (bma400_init(&m->dev) != BMA400_OK) { return -ENODEV; }
    uint8_t mode, params[24];
    struct bma400_int_enable en = {.type = BMA400_STEP_COUNTER_INT_EN};
    if (bma400_get_power_mode(&mode, &m->dev) != BMA400_OK ||
        bma400_get_interrupts_enabled(&en, 1, &m->dev) != BMA400_OK ||
        b->read(b->ctx, 0x14, 0x59, params, sizeof(params))) { return -EIO; }
    const uint8_t *wanted = wrist ? wrist_params : nonwrist_params;
    *reset = mode != BMA400_MODE_NORMAL || !en.conf || memcmp(params, wanted, 24);
    if (!*reset) { return 0; }
    if (bma400_soft_reset(&m->dev) != BMA400_OK) { return -EIO; }
    b->delay_ms(b->ctx, 5);
    struct bma400_sensor_conf conf = {.type = BMA400_ACCEL};
    if (bma400_get_sensor_conf(&conf, 1, &m->dev) != BMA400_OK) { return -EIO; }
    conf.param.accel.odr = BMA400_ODR_100HZ;
    conf.param.accel.range = BMA400_RANGE_4G;
    conf.param.accel.osr = BMA400_ACCEL_OSR_SETTING_0;
    conf.param.accel.data_src = BMA400_DATA_SRC_ACCEL_FILT_2;
    if (bma400_set_sensor_conf(&conf, 1, &m->dev) != BMA400_OK ||
        bma400_set_step_counter_param(wanted, &m->dev) != BMA400_OK) { return -EIO; }
    struct bma400_device_conf pins[2] = {
        {.type = BMA400_INT_PIN_CONF, .param.int_conf = {
            .int_chan = BMA400_INT_CHANNEL_1, .pin_conf = BMA400_INT_PUSH_PULL_ACTIVE_1}},
        {.type = BMA400_INT_PIN_CONF, .param.int_conf = {
            .int_chan = BMA400_INT_CHANNEL_2, .pin_conf = BMA400_INT_PUSH_PULL_ACTIVE_1}}
    };
    if (bma400_set_device_conf(pins, 2, &m->dev) != BMA400_OK ||
        bma400_set_power_mode(BMA400_MODE_NORMAL, &m->dev) != BMA400_OK) { return -EIO; }
    b->delay_ms(b->ctx, 20);
    en.conf = BMA400_ENABLE;
    if (bma400_enable_interrupt(&en, 1, &m->dev) != BMA400_OK) { return -EIO; }
    return 0;
}
int motion_read(struct motion *m, uint32_t *steps, uint8_t *activity)
{
    uint8_t mode;
    struct bma400_int_enable en = {.type = BMA400_STEP_COUNTER_INT_EN};
    if (bma400_get_power_mode(&mode, &m->dev) != BMA400_OK ||
        bma400_get_interrupts_enabled(&en, 1, &m->dev) != BMA400_OK ||
        mode != BMA400_MODE_NORMAL || !en.conf) { return -EIO; }
    return bma400_get_steps_counted(steps, activity, &m->dev) == BMA400_OK ? 0 : -EIO;
}
```

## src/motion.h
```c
#ifndef PEDOMETER_MOTION_H
#define PEDOMETER_MOTION_H
#include "bus.h"
#include "bma400.h"
#include <stdbool.h>
struct motion { struct bma400_dev dev; const struct reg_bus *bus; };
int motion_init(struct motion *m, const struct reg_bus *b, bool wrist, bool *reset);
int motion_read(struct motion *m, uint32_t *steps, uint8_t *activity);
#endif
```

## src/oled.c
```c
#include "oled.h"
#include <errno.h>
#include <stdio.h>
#include <string.h>
/* Five columns, least-significant bit at top. Small built-in uppercase font. */
static const uint8_t digits[10][5] = {
    {62,81,73,69,62},{0,66,127,64,0},{66,97,81,73,70},{33,65,69,75,49},
    {24,20,18,127,16},{39,69,69,69,57},{60,74,73,73,48},{1,113,9,5,3},
    {54,73,73,73,54},{6,73,73,41,30}
};
static const uint8_t letters[26][5] = {
    {126,17,17,17,126},{127,73,73,73,54},{62,65,65,65,34},{127,65,65,34,28},
    {127,73,73,73,65},{127,9,9,9,1},{62,65,73,73,122},{127,8,8,8,127},
    {0,65,127,65,0},{32,64,65,63,1},{127,8,20,34,65},{127,64,64,64,64},
    {127,2,12,2,127},{127,4,8,16,127},{62,65,65,65,62},{127,9,9,9,6},
    {62,65,81,33,94},{127,9,25,41,70},{38,73,73,73,50},{1,1,127,1,1},
    {63,64,64,64,63},{31,32,64,32,31},{127,32,24,32,127},{99,20,8,20,99},
    {3,4,120,4,3},{97,81,73,69,67}
};
static void glyph(char c, uint8_t out[5])
{
    memset(out, 0, 5);
    if (c >= '0' && c <= '9') { memcpy(out, digits[c-'0'], 5); }
    else if (c >= 'A' && c <= 'Z') { memcpy(out, letters[c-'A'], 5); }
    else if (c == '.') { out[2] = 96; }
    else if (c == ':') { out[2] = 54; }
    else if (c == '-') { memset(out, 8, 5); }
    else if (c == '%') { out[0]=99; out[1]=19; out[2]=8; out[3]=100; out[4]=99; }
    else if (c == '?') { out[0]=2; out[1]=1; out[2]=81; out[3]=9; out[4]=6; }
}
static int transfer(struct oled *o, bool data, const uint8_t *buf, size_t n)
{
    int rc = o->io->pin(OLED_DC, data);
    if (!rc) { rc = o->io->pin(OLED_CS, false); }
    if (!rc) { rc = o->io->write(buf, n); }
    int deselect = o->io->pin(OLED_CS, true);
    return rc ? rc : deselect;
}
int oled_off(struct oled *o)
{
    int rc = 0;
    if (o->active) { const uint8_t cmd = 0xae; rc = transfer(o, false, &cmd, 1); }
    int r = o->io->sleep_pins(); if (!rc) { rc = r; }
    for (enum oled_pin p = OLED_RESET; p <= OLED_CS; ++p) {
        r = o->io->pin(p, false); if (!rc) { rc = r; }
    }
    r = o->io->pin(OLED_POWER, false); if (!rc) { rc = r; }
    o->active = false;
    return rc;
}
int oled_init(struct oled *o, const struct oled_io *io, uint8_t height)
{
    if (height != 32 && height != 64) { return -EINVAL; }
    *o = (struct oled){.io = io, .height = height};
    return oled_off(o);
}
static int power_on(struct oled *o)
{
    if (o->active) { return 0; }
    int rc = oled_off(o);
    if (!rc) { rc = o->io->pin(OLED_POWER, true); }
    if (rc) { return rc; }
    o->io->delay_ms(20);
    rc = o->io->pin(OLED_RESET, true);
    o->io->delay_ms(10);
    if (rc) { oled_off(o); return rc; }
    o->active = true;
    uint8_t cmd[] = {0xae,0xd5,0x80,0xa8,o->height-1,0xd3,0,0x40,
        0x8d,0x14,0x20,0,0xa1,0xc8,0xda,o->height == 64 ? 0x12 : 0x02,
        0x81,0x3f,0xd9,0xf1,0xdb,0x40,0xa4,0xa6,0x2e};
    rc = transfer(o, false, cmd, sizeof(cmd));
    if (rc) { oled_off(o); }
    return rc;
}
int oled_text(struct oled *o, const char *a, const char *b, const char *c, const char *d)
{
    int rc = power_on(o); if (rc) { return rc; }
    uint8_t page[128]; const char *lines[4] = {a,b,c,d};
    uint8_t cmd[] = {0x21,0,127,0x22,0,o->height/8-1};
    rc = transfer(o, false, cmd, sizeof(cmd));
    for (unsigned p = 0; p < o->height / 8u && !rc; ++p) {
        memset(page, 0, sizeof(page));
        unsigned spacing = o->height / 32u;
        const char *s = p % spacing ? "" : lines[p / spacing];
        for (unsigned col = 0; col < 21 && s[col]; ++col) { glyph(s[col], page+col*6); }
        rc = transfer(o, true, page, sizeof(page));
    }
    if (!rc) { const uint8_t on = 0xaf; rc = transfer(o, false, &on, 1); }
    if (rc) { oled_off(o); }
    return rc;
}
int oled_status(struct oled *o, const struct telemetry *t, bool connected)
{
    char a[22], b[22], c[22];
    snprintf(a, sizeof(a), "STEPS %lu", (unsigned long)t->steps);
    snprintf(b, sizeof(b), "KM %lu.%03lu", (unsigned long)(t->distance_mm/1000000u),
        (unsigned long)(t->distance_mm/1000u%1000u));
    if (!(t->flags & STATUS_BATTERY)) { snprintf(c, sizeof(c), "BATTERY ABSENT"); }
    else if (t->flags & STATUS_SOC) { snprintf(c, sizeof(c), "BAT %u%% %uMV", t->percent, t->millivolts); }
    else { snprintf(c, sizeof(c), "BAT %uMV SOC ?", t->millivolts); }
    const char *state = !(t->flags & STATUS_MOTION) ? "SENSOR ERROR" :
        (t->flags & STATUS_STORAGE_ERROR) ? "SAVE ERROR" :
        connected ? "BLUETOOTH CONNECTED" : "HOLD 2-5S TO PAIR";
    return oled_text(o, a, b, c, state);
}
```

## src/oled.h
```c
#ifndef PEDOMETER_OLED_H
#define PEDOMETER_OLED_H
#include "core.h"
enum oled_pin { OLED_POWER, OLED_RESET, OLED_DC, OLED_CS };
struct oled_io {
    int (*pin)(enum oled_pin pin, bool high);
    int (*write)(const uint8_t *data, size_t size);
    int (*sleep_pins)(void);
    void (*delay_ms)(uint32_t ms);
};
struct oled { const struct oled_io *io; uint8_t height; bool active; };
int oled_init(struct oled *o, const struct oled_io *io, uint8_t height);
int oled_off(struct oled *o);
int oled_text(struct oled *o, const char *a, const char *b, const char *c, const char *d);
int oled_status(struct oled *o, const struct telemetry *t, bool connected);
#endif
```
